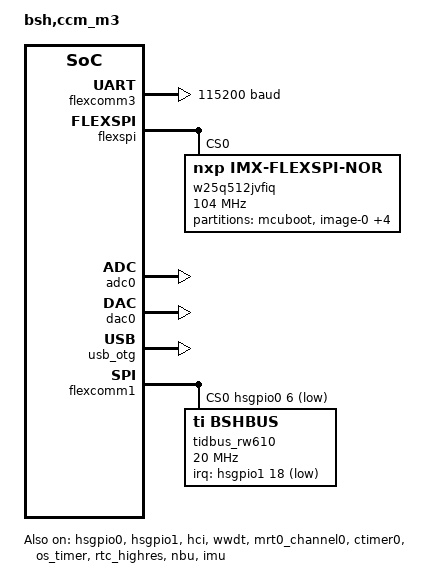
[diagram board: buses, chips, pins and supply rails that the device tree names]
/*
 * Copyright 2024-2025 NXP
 *
 * SPDX-License-Identifier: Apache-2.0
 */

#include "ccm_m3-pinctrl.dtsi"

/ {
	model = "bsh,ccm_m3";

	aliases {
		watchdog0 = &wwdt;
		usart-0 = &flexcomm3;
		i2c-0 = &flexcomm2;
		pwm-0 = &sctimer;
	};

	chosen {
		zephyr,sram = &sram_data;
		zephyr,flash = &w25q512jvfiq;
		zephyr,console = &flexcomm3;
		zephyr,shell-uart = &flexcomm3;
		zephyr,flash-controller = &w25q512jvfiq;
		zephyr,code-partition = &slot0_partition;
		zephyr,uart-mcumgr = &flexcomm3;
		zephyr,bshbus = &tidbus_rw610;
	};
};

&flexcomm3 {
	compatible = "nxp,lpc-usart";
	status = "okay";
	current-speed = <115200>;
	pinctrl-0 = <&pinmux_flexcomm3_usart>;
	pinctrl-names = "default";
	wakeup-source;
};

&hsgpio0 {
	status = "okay";
	pinctrl-0 = <&pinmux_hsgpio0>;
	pinctrl-names = "default";
};

&hsgpio1 {
	status = "okay";
	pinctrl-0 = <&pinmux_hsgpio1>;
	pinctrl-names = "default";
};

&flexspi {
	status = "okay";
	ahb-bufferable;
	ahb-prefetch;
	ahb-cacheable;
	ahb-read-addr-opt;
	ahb-boundary = "1024";
	rx-clock-source = <1>;
	rx-clock-source-b = <1>;

	/* Winbond external flash */
	w25q512jvfiq: w25q512jvfiq@0 {
		compatible = "nxp,imx-flexspi-nor";
		reg = <0>;
		size = <DT_SIZE_M(32 * 8)>;
		status = "okay";
		jedec-id = [20 40 19];
		erase-block-size = <4096>;
		write-block-size = <1>;
		spi-max-frequency = <DT_FREQ_M(104)>;

		partitions {
			compatible = "fixed-partitions";
			#address-cells = <1>;
			#size-cells = <1>;

			/*
			 * Partition sizes must be aligned
			 * to the flash security sub-region size of 128KB.
			 */
			boot_partition: partition@0 {
				label = "mcuboot";
				reg = <0x00000000 DT_SIZE_K(128)>;
			};

			slot0_partition: partition@20000 {
				label = "image-0";
				reg = <0x00020000 DT_SIZE_K(640)>;
			};

			slot0_ns_partition: partition@C0000 {
				label = "image-0-non-secure";
				reg = <0x000C0000 DT_SIZE_M(3)>;
			};

			slot1_partition: partition@3C0000 {
				label = "image-1";
				reg = <0x003C0000 DT_SIZE_K(640)>;
			};

			slot1_ns_partition: partition@460000 {
				label = "image-1-non-secure";
				reg = <0x00460000 DT_SIZE_M(3)>;
			};

			storage_partition: partition@760000 {
				label = "storage";
				reg = <0x00760000 (DT_SIZE_M(57) - DT_SIZE_K(384))>; 
			};
		};
	};

	aps6404l: aps6404l@2 {
		compatible = "nxp,imx-flexspi-aps6404l";
		/* APS6404L is 8MB, 64MBit pSRAM */
		size = <DT_SIZE_M(8 * 8)>;
		reg = <2>;
		spi-max-frequency = <DT_FREQ_M(109)>;
		/* PSRAM cannot be enabled while board is in default XIP
		 * configuration, as it will conflict with flash chip.
		 */
		status = "disabled";
		cs-interval-unit = <1>;
		cs-interval = <2>;
		cs-hold-time = <3>;
		cs-setup-time = <3>;
		data-valid-time = <6>;
		column-space = <0>;
		ahb-write-wait-unit = <2>;
		ahb-write-wait-interval = <0>;
	};
};

&hci {
	status = "okay";
	wakeup-source;
};

&wwdt {
	status = "okay";
};

&dma0 {
	status = "okay";
};

&mrt0_channel0 {
	status = "okay";
};

&ctimer0 {
	status = "okay";
};

&pmu {
	reset-causes-en = <PMU_RESET_CM33_LOCKUP>,
			  <PMU_RESET_ITRC>,
			  <PMU_RESET_AP_RESET>;
};

/* OS Timer is the wakeup source for PM mode 2 */
&os_timer {
	status = "okay";
	wakeup-source;
	deep-sleep-counter = <&rtc_highres>;
};

&systick {
	status = "disabled";
};

&adc0 {
	status = "okay";
};

&dac0 {
	status = "okay";
};

/* RTC is the wakeup source for PM modes 3,4 */
&rtc_highres {
	status = "okay";
	wakeup-source;
};

&nbu {
	status = "okay";
	wakeup-source;
};

&imu {
	status = "okay";
	wakeup-source;
};

zephyr_udc0: &usb_otg {
	status = "okay";
};

/*
 * DBusCan chip on flexcomm1
 */
&flexcomm1 {
	compatible = "nxp,lpc-spi";
	pinctrl-0 = <&pinmux_flexcomm1_spi>;
	pinctrl-names = "default";
	status = "okay";
	#address-cells = <1>;
	#size-cells = <0>;
	cs-gpios = <&hsgpio0 6 GPIO_ACTIVE_LOW>;

	tidbus_rw610: bshbus@0 {
		compatible = "ti,bshbus";
		reg = <0>;
		spi-max-frequency = <20000000>;
		/* TODO: needs to be mapped to GPIO_01 in next sample (IO_MUX_GPIO25) */
		irq-gpios = <&hsgpio1 18 (GPIO_ACTIVE_LOW | GPIO_PULL_UP)>;
		status = "okay";
	};
};
